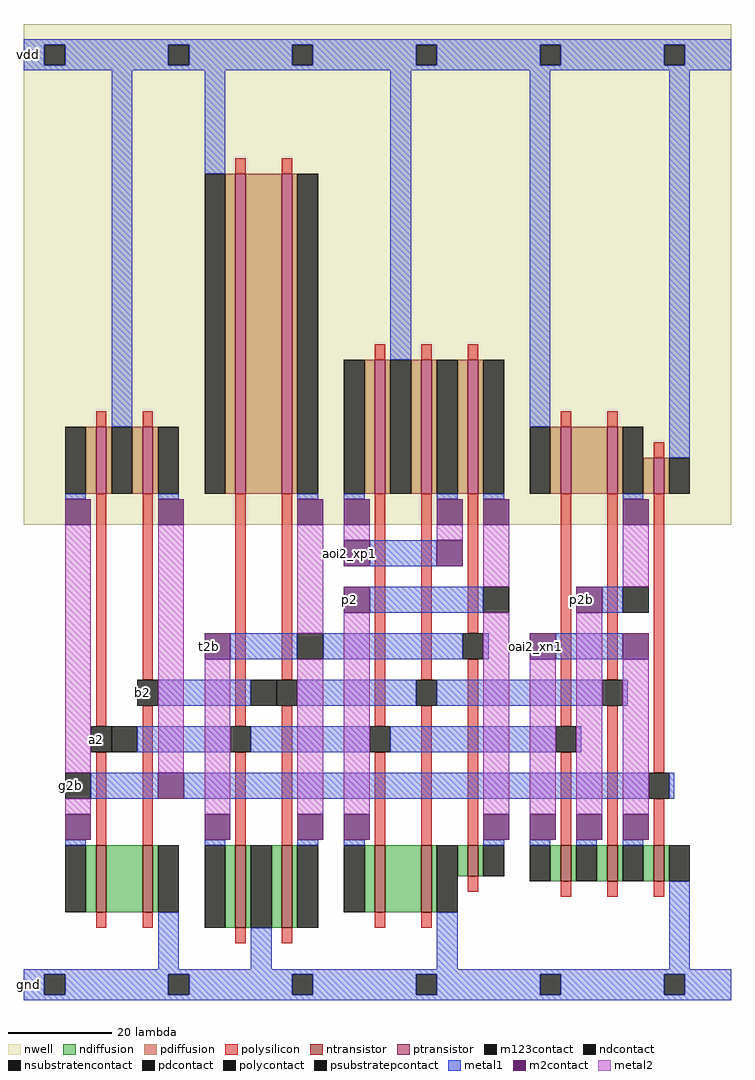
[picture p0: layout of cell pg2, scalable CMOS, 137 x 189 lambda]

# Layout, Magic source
magic
tech scmos
<< nwell >>
rect 0 92 137 189
<< ntransistor >>
rect 14 17 16 30
rect 23 17 25 30
rect 41 14 43 30
rect 50 14 52 30
rect 68 17 70 30
rect 77 17 79 30
rect 86 24 88 30
rect 104 23 106 30
rect 113 23 115 30
rect 122 23 124 30
<< ptransistor >>
rect 14 98 16 111
rect 23 98 25 111
rect 41 98 43 160
rect 50 98 52 160
rect 68 98 70 124
rect 77 98 79 124
rect 86 98 88 124
rect 104 98 106 111
rect 113 98 115 111
rect 122 98 124 105
<< ndiffusion >>
rect 12 17 14 30
rect 16 17 23 30
rect 25 17 26 30
rect 39 14 41 30
rect 43 14 44 30
rect 48 14 50 30
rect 52 14 53 30
rect 66 17 68 30
rect 70 17 77 30
rect 79 17 80 30
rect 84 24 86 30
rect 88 24 89 30
rect 102 23 104 30
rect 106 23 107 30
rect 111 23 113 30
rect 115 23 116 30
rect 120 23 122 30
rect 124 23 125 30
<< pdiffusion >>
rect 12 98 14 111
rect 16 98 17 111
rect 21 98 23 111
rect 25 98 26 111
rect 39 98 41 160
rect 43 98 50 160
rect 52 98 53 160
rect 66 98 68 124
rect 70 98 71 124
rect 75 98 77 124
rect 79 98 80 124
rect 84 98 86 124
rect 88 98 89 124
rect 102 98 104 111
rect 106 98 113 111
rect 115 98 116 111
rect 120 98 122 105
rect 124 98 125 105
<< ndcontact >>
rect 8 17 12 30
rect 26 17 30 30
rect 35 14 39 30
rect 44 14 48 30
rect 53 14 57 30
rect 62 17 66 30
rect 80 17 84 30
rect 89 24 93 30
rect 98 23 102 30
rect 107 23 111 30
rect 116 23 120 30
rect 125 23 129 30
<< pdcontact >>
rect 8 98 12 111
rect 17 98 21 111
rect 26 98 30 111
rect 35 98 39 160
rect 53 98 57 160
rect 62 98 66 124
rect 71 98 75 124
rect 80 98 84 124
rect 89 98 93 124
rect 98 98 102 111
rect 116 98 120 111
rect 125 98 129 105
<< psubstratepcontact >>
rect 4 1 8 5
rect 28 1 32 5
rect 52 1 56 5
rect 76 1 80 5
rect 100 1 104 5
rect 124 1 128 5
<< nsubstratencontact >>
rect 4 181 8 185
rect 28 181 32 185
rect 52 181 56 185
rect 76 181 80 185
rect 100 181 104 185
rect 124 181 128 185
<< polysilicon >>
rect 41 160 43 163
rect 50 160 52 163
rect 14 111 16 114
rect 23 111 25 114
rect 68 124 70 127
rect 77 124 79 127
rect 86 124 88 127
rect 104 111 106 114
rect 113 111 115 114
rect 122 105 124 108
rect 14 53 16 98
rect 23 62 25 98
rect 14 30 16 48
rect 23 30 25 57
rect 41 53 43 98
rect 50 62 52 98
rect 41 30 43 48
rect 50 30 52 57
rect 68 53 70 98
rect 77 62 79 98
rect 86 71 88 98
rect 68 30 70 48
rect 77 30 79 57
rect 86 30 88 66
rect 104 53 106 98
rect 113 62 115 98
rect 104 30 106 48
rect 113 30 115 57
rect 122 44 124 98
rect 122 30 124 39
rect 14 14 16 17
rect 23 14 25 17
rect 86 21 88 24
rect 104 20 106 23
rect 113 20 115 23
rect 122 20 124 23
rect 68 14 70 17
rect 77 14 79 17
rect 41 11 43 14
rect 50 11 52 14
<< polycontact >>
rect 22 57 26 62
rect 13 48 17 53
rect 49 57 53 62
rect 40 48 44 53
rect 85 66 89 71
rect 76 57 80 62
rect 67 48 71 53
rect 112 57 116 62
rect 103 48 107 53
rect 121 39 125 44
<< metal1 >>
rect 0 185 137 186
rect 0 181 4 185
rect 8 181 28 185
rect 32 181 52 185
rect 56 181 76 185
rect 80 181 100 185
rect 104 181 124 185
rect 128 181 137 185
rect 0 180 137 181
rect 17 111 21 180
rect 35 160 39 180
rect 71 124 75 180
rect 8 97 12 98
rect 26 97 30 98
rect 53 97 57 98
rect 62 97 66 98
rect 80 97 84 98
rect 98 111 102 180
rect 125 105 129 180
rect 89 97 93 98
rect 116 97 120 98
rect 67 84 80 89
rect 67 75 89 80
rect 112 75 116 80
rect 40 66 53 71
rect 58 66 85 71
rect 89 66 90 71
rect 103 66 116 71
rect 26 57 44 62
rect 53 57 76 62
rect 80 57 112 62
rect 116 57 117 62
rect 22 48 40 53
rect 44 48 67 53
rect 71 48 103 53
rect 107 48 108 53
rect 13 39 26 44
rect 31 39 121 44
rect 125 39 126 44
rect 8 30 12 31
rect 35 30 39 31
rect 53 30 57 31
rect 26 6 30 17
rect 62 30 66 31
rect 89 30 93 31
rect 98 30 102 31
rect 107 30 111 31
rect 116 30 120 31
rect 44 6 48 14
rect 80 6 84 17
rect 125 6 129 23
rect 0 5 137 6
rect 0 1 4 5
rect 8 1 28 5
rect 32 1 52 5
rect 56 1 76 5
rect 80 1 100 5
rect 104 1 124 5
rect 128 1 137 5
rect 0 0 137 1
<< m2contact >>
rect 8 92 13 97
rect 26 92 31 97
rect 53 92 58 97
rect 62 92 67 97
rect 80 92 85 97
rect 89 92 94 97
rect 116 92 121 97
rect 62 84 67 89
rect 80 84 85 89
rect 62 75 67 80
rect 107 75 112 80
rect 35 66 40 71
rect 98 66 103 71
rect 116 66 121 71
rect 26 39 31 44
rect 8 31 13 36
rect 35 31 40 36
rect 53 31 58 36
rect 62 31 67 36
rect 89 31 94 36
rect 98 31 103 36
rect 107 31 112 36
rect 116 31 121 36
<< metal2 >>
rect 8 44 13 92
rect 26 44 31 92
rect 53 71 58 92
rect 62 89 67 92
rect 80 89 85 92
rect 89 80 94 92
rect 116 80 121 92
rect 8 36 13 39
rect 35 36 40 66
rect 53 36 58 66
rect 62 36 67 75
rect 89 36 94 75
rect 98 36 103 66
rect 107 36 112 75
rect 116 36 121 66
<< m123contact >>
rect 17 48 22 53
rect 8 39 13 44
rect 53 66 58 71
rect 44 57 49 62
rect 89 75 94 80
rect 116 75 121 80
<< labels >>
rlabel metal1 13 48 15 53 0 a2
port 1 nsew
rlabel metal1 22 57 24 62 0 b2
port 2 nsew
rlabel metal1 8 39 10 44 0 g2b
port 3 nsew
rlabel m2contact 62 75 64 80 0 p2
port 4 nsew
rlabel m2contact 107 75 109 80 0 p2b
port 5 nsew
rlabel m2contact 35 66 37 71 0 t2b
port 6 nsew
rlabel m2contact 62 84 64 89 0 aoi2_xp1
rlabel m2contact 98 66 100 71 0 oai2_xn1
rlabel metal1 0 180 2 186 0 vdd
port 7 nsew
rlabel metal1 0 0 2 6 0 gnd
port 8 nsew
<< end >>
